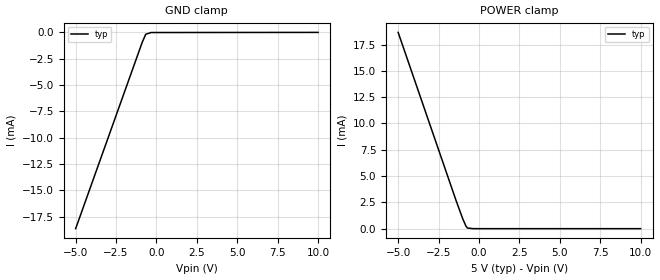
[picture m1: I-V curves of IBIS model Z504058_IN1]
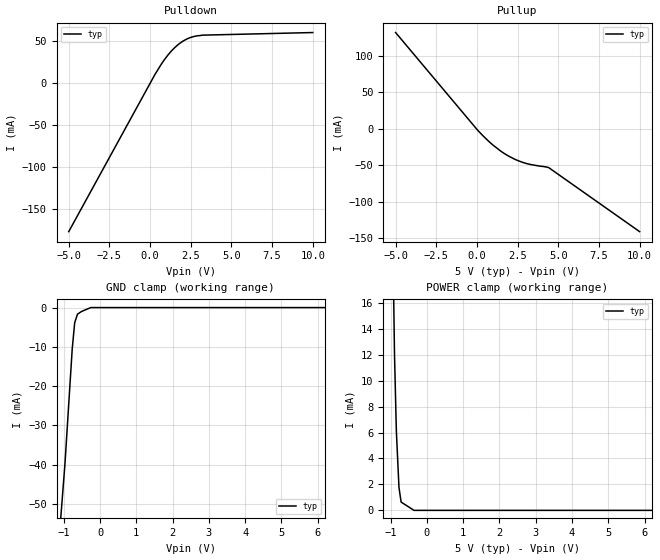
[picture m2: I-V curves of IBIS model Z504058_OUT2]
| YOU ARE ONLY AUTHORIZED TO USE THIS SOFTWARE
| ACCORDING TO LICENSOR'S LICENSE RESTRICTIONS.
[IBIS Ver] 3.1
[File Name] mc54hc133j.ibs
[File Rev] 2.0
[Source] Measured and created by ICX Technology
[Date] Friday 7/14/00 9:08:06 AM
[Copyright]
| (C) COPYRIGHT 1993-2000
| MENTOR GRAPHICS CORPORATION
| ICX STANDARD LIBRARY, ICX PROJECT MODELING,
| ICX CUSTOM MODELING, ICX VENDOR MODEL
| ALL RIGHTS RESERVED.
| THE FOLLOWING ARE TRADEMARKS OR SERVICE MARKS OF
| MENTOR GRAPHICS CORPORATION:ICX (R), ICX STANDARD
| LIBRARY(R), ICX PROJECT MODELING(R), ICX CUSTOM
| MODELING(R), qualityIBIS(TM), MODELVIEWER(TM),
| AND MODELEDITOR(TM)
| ALL COPIES OF SOFTWARE, INCLUDING BUT NOT LIMITED TO
| ANY MODIFICATIONS, ENHANCEMENTS OR DERIVATIVE WORKS,
| MUST CONTAIN ALL MENTOR GRAPHICS CORPORATION'S
| NOTICES AND LEGENDS, INCLUDING THOSE EMBEDDED IN
| SOFTWARE AND THOSE AFFIXED TO SOFTWARE MEDIUM
| AND CONTAINER, AS RECEIVED FROM MENTOR GRAPHICS
| CORPORATION.
|  ZAP Model Builder 2.7
[Component] MC54HC133J
[Manufacturer] OnSemiconductor
[Package]
| variable   typ   min   max
R_pkg  .212ohms NA NA
L_pkg  4.758nH NA NA
C_pkg  1.944pF NA NA
[Pin] signal_name  model_name  R_pin  L_pin C_pin
1 A Z504058_IN1 .224 7.258n 2.683p
2 B Z504058_IN1 .216 5.258n 2.19p
3 C Z504058_IN1 .208 3.758n 1.697p
4 D Z504058_IN1 .2 2.758n 1.204p
5 E Z504058_IN1 .2 2.758n 1.204p
6 F Z504058_IN1 .208 3.758n 1.697p
7 G Z504058_IN1 .216 5.258n 2.19p
8 GROUND GND .224 7.258n 2.683p
9 Y Z504058_OUT2 .224 7.258n 2.683p
10 H Z504058_IN1 .216 5.258n 2.19p
11 I Z504058_IN1 .208 3.758n 1.697p
12 J Z504058_IN1 .2 2.758n 1.204p
13 K Z504058_IN1 .2 2.758n 1.204p
14 L Z504058_IN1 .208 3.758n 1.697p
15 M Z504058_IN1 .216 5.258n 2.19p
16 VCC POWER .224 7.258n 2.683p
| Models and submodels in the file (2): Z504058_IN1 (Input), Z504058_OUT2 (Output)
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| (C) COPYRIGHT 1993-2000
| MENTOR GRAPHICS CORPORATION
| ICX STANDARD LIBRARY, ICX PROJECT MODELING,
| ICX CUSTOM MODELING, ICX VENDOR MODEL
| ALL RIGHTS RESERVED.
| THE FOLLOWING ARE TRADEMARKS OR SERVICE MARKS OF
| MENTOR GRAPHICS CORPORATION:ICX (R), ICX STANDARD
| LIBRARY(R), ICX PROJECT MODELING(R), ICX CUSTOM
| MODELING(R), qualityIBIS(TM), MODELVIEWER(TM),
| AND MODELEDITOR(TM)
| ALL COPIES OF SOFTWARE, INCLUDING BUT NOT LIMITED TO
| ANY MODIFICATIONS, ENHANCEMENTS OR DERIVATIVE WORKS,
| MUST CONTAIN ALL MENTOR GRAPHICS CORPORATION'S
| NOTICES AND LEGENDS, INCLUDING THOSE EMBEDDED IN
| SOFTWARE AND THOSE AFFIXED TO SOFTWARE MEDIUM
| AND CONTAINER, AS RECEIVED FROM MENTOR GRAPHICS
| CORPORATION.
| Model Application Version 1.89 2/18/99.
[Model] Z504058_IN1
Model_type Input
Vinl = 1.000V
Vinh = 3.500V
C_comp 4.000pF NA NA
| variable typ   min   max
[Voltage Range] 5.000V NA NA
[GND Clamp Reference] 0.000V NA NA
[POWER Clamp Reference] 5.000V NA NA
[GND Clamp]
-5V       -18.63mA   NA         NA
-878.6mV  -933.5uA   NA         NA
-664.3mV  -178.6uA   NA         NA
-332.2mV  -13.91uA   NA         NA
10V       -1.476uA   NA         NA
[POWER Clamp]
-5V       18.66mA    NA         NA
-1.406V   2.628mA    NA         NA
-1.004V   942.3uA    NA         NA
-811mV    259.1uA    NA         NA
-711mV    60.34uA    NA         NA
-355.5mV  0A         NA         NA
10V       0A         NA         NA
| (C) COPYRIGHT 1993-2000
| MENTOR GRAPHICS CORPORATION
| ICX STANDARD LIBRARY, ICX PROJECT MODELING,
| ICX CUSTOM MODELING, ICX VENDOR MODEL
| ALL RIGHTS RESERVED.
| THE FOLLOWING ARE TRADEMARKS OR SERVICE MARKS OF
| MENTOR GRAPHICS CORPORATION:ICX (R), ICX STANDARD
| LIBRARY(R), ICX PROJECT MODELING(R), ICX CUSTOM
| MODELING(R), qualityIBIS(TM), MODELVIEWER(TM),
| AND MODELEDITOR(TM)
| ALL COPIES OF SOFTWARE, INCLUDING BUT NOT LIMITED TO
| ANY MODIFICATIONS, ENHANCEMENTS OR DERIVATIVE WORKS,
| MUST CONTAIN ALL MENTOR GRAPHICS CORPORATION'S
| NOTICES AND LEGENDS, INCLUDING THOSE EMBEDDED IN
| SOFTWARE AND THOSE AFFIXED TO SOFTWARE MEDIUM
| AND CONTAINER, AS RECEIVED FROM MENTOR GRAPHICS
| CORPORATION.
| Model Application Version 1.89 2/18/99.
[Model] Z504058_OUT2
Model_type Output
Vref=0.000V
Rref=500.0Mohms
Cref=50.00pF
Vmeas=2.500V
C_comp 8.000pF NA NA
| variable typ   min   max
[Voltage Range] 5.000V NA NA
[POWER Clamp Reference] 5.000V NA NA
[Pullup Reference] 5.000V NA NA
[Pulldown Reference] 0.000V NA NA
[GND Clamp Reference] 0.000V NA NA
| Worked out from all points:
|   slope of the pulldown table from 0 to 0.75 V, typ, clamps not added: 30.5 ohm
|   slope of the pullup table from 0 to 0.75 V, typ, clamps not added: 44.4 ohm
|   POWER clamp passes 1 mA (typ) near -0.73 V on its own axis
[GND Clamp]
-5V       -389.4mA   NA         NA
-1.207V   -66.32mA   NA         NA
-1.089V   -54.23mA   NA         NA
-967mV    -39.71mA   NA         NA
-768.1mV  -10.62mA   NA         NA
-700mV    -3.882mA   NA         NA
-623.2mV  -1.686mA   NA         NA
-511.9mV  -1mA       NA         NA
-256mV    0A         NA         NA
10V       0A         NA         NA
[Pulldown]
-5V       -176.6mA   NA         NA
294.4mV   10.49mA    NA         NA
681.5mV   22.66mA    NA         NA
1.108V    34.1mA     NA         NA
1.732V    46.41mA    NA         NA
2.03V     50.5mA     NA         NA
2.461V    54.57mA    NA         NA
3.174V    57.45mA    NA         NA
10V       60.66mA    NA         NA
[Pullup]
-5V       132.1mA    NA         NA
39mV      -1.754mA   NA         NA
977mV     -22.09mA   NA         NA
1.683V    -33.83mA   NA         NA
2.51V     -43.48mA   NA         NA
3.34V     -49.13mA   NA         NA
4.418V    -53.28mA   NA         NA
10V       -141mA     NA         NA
[POWER Clamp]
-5V       1.105A     NA         NA
-1.289V   99.99mA    NA         NA
-1.055V   42.99mA    NA         NA
-894mV    12.03mA    NA         NA
-843mV    6.121mA    NA         NA
-771mV    1.773mA    NA         NA
-712mV    639.9uA    NA         NA
-356mV    0A         NA         NA
10V       0A         NA         NA
[Ramp]
| variable typ min max
dV/dt_r 2.785/1.906n NA NA
dV/dt_f 2.785/1.537n NA NA
R_load = 500.0Ohms
